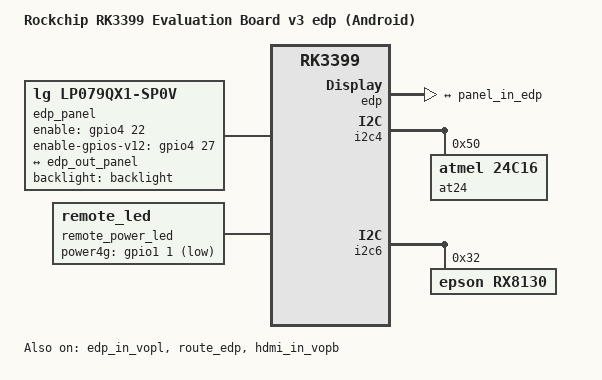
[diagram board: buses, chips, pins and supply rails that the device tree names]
/*
 * Copyright (c) 2016 Fuzhou Rockchip Electronics Co., Ltd
 *
 * This file is dual-licensed: you can use it either under the terms
 * of the GPL or the X11 license, at your option. Note that this dual
 * licensing only applies to this file, and not this project as a
 * whole.
 *
 *  a) This file is free software; you can redistribute it and/or
 *     modify it under the terms of the GNU General Public License as
 *     published by the Free Software Foundation; either version 2 of the
 *     License, or (at your option) any later version.
 *
 *     This file is distributed in the hope that it will be useful,
 *     but WITHOUT ANY WARRANTY; without even the implied warranty of
 *     MERCHANTABILITY or FITNESS FOR A PARTICULAR PURPOSE.  See the
 *     GNU General Public License for more details.
 *
 * Or, alternatively,
 *
 *  b) Permission is hereby granted, free of charge, to any person
 *     obtaining a copy of this software and associated documentation
 *     files (the "Software"), to deal in the Software without
 *     restriction, including without limitation the rights to use,
 *     copy, modify, merge, publish, distribute, sublicense, and/or
 *     sell copies of the Software, and to permit persons to whom the
 *     Software is furnished to do so, subject to the following
 *     conditions:
 *
 *     The above copyright notice and this permission notice shall be
 *     included in all copies or substantial portions of the Software.
 *
 *     THE SOFTWARE IS PROVIDED "AS IS", WITHOUT WARRANTY OF ANY KIND,
 *     EXPRESS OR IMPLIED, INCLUDING BUT NOT LIMITED TO THE WARRANTIES
 *     OF MERCHANTABILITY, FITNESS FOR A PARTICULAR PURPOSE AND
 *     NONINFRINGEMENT. IN NO EVENT SHALL THE AUTHORS OR COPYRIGHT
 *     HOLDERS BE LIABLE FOR ANY CLAIM, DAMAGES OR OTHER LIABILITY,
 *     WHETHER IN AN ACTION OF CONTRACT, TORT OR OTHERWISE, ARISING
 *     FROM, OUT OF OR IN CONNECTION WITH THE SOFTWARE OR THE USE OR
 *     OTHER DEALINGS IN THE SOFTWARE.
 */

/dts-v1/;

#include "rk3399-mid-evb-rev3.dtsi"
#include "rk3399-mid-android.dtsi"

/ {
	model = "Rockchip RK3399 Evaluation Board v3 edp (Android)";
	compatible = "rockchip,android", "rockchip,rk3399-evb-rev3", "rockchip,rk3399";

	edp_panel: edp-panel {
		compatible = "lg,lp079qx1-sp0v";
		backlight = <&backlight>;
		enable-gpios = <&gpio4  22  GPIO_ACTIVE_HIGH>;
		enable-gpios-v12 = <&gpio4  27  GPIO_ACTIVE_HIGH>;

		prepare-delay-ms = <140>;
		enable-delay-ms = <120>;
		ports {
			panel_in_edp: endpoint {
				remote-endpoint = <&edp_out_panel>;
			};
		};
	};

	remote_power_led {
		compatible = "remote_led";
		power4g-gpios = <&gpio1 1 GPIO_ACTIVE_LOW>;
		status = "okay";
	};
};

&edp {
	force-hpd;
	status = "okay";

	ports {
		edp_out: port@1 {
			reg = <1>;
			#address-cells = <1>;
			#size-cells = <0>;

			edp_out_panel: endpoint@0 {
				reg = <0>;
				remote-endpoint = <&panel_in_edp>;
			};
		};
	};
};

&edp_in_vopl {
	status = "okay";
};

&edp_in_vopb {
status = "disabled";
};

&route_edp {
	connect=<&vopl_out_edp>;
	status="okay";
};

&hdmi_in_vopl {
	status = "disabled";
};

&hdmi_in_vopb {
	status = "okay";
};

&vopb {
	assigned-clocks = <&cru DCLK_VOP0_DIV>;
	assigned-clock-parents = <&cru PLL_VPLL>;
};

&vopl {
	assigned-clocks = <&cru DCLK_VOP1_DIV>;
	assigned-clock-parents = <&cru PLL_CPLL>;
};

&i2c4 {
	at24: eeprom@50 {
		compatible = "atmel,24c16", "atmel,24c16a";
		reg = <0x50>;
	};
};

&i2c6 {
	status = "okay";
	rx8130: rx8130@32 {
		compatible ="epson,rx8130";
		reg = <0x32>;
		status = "okay";
	};
};
